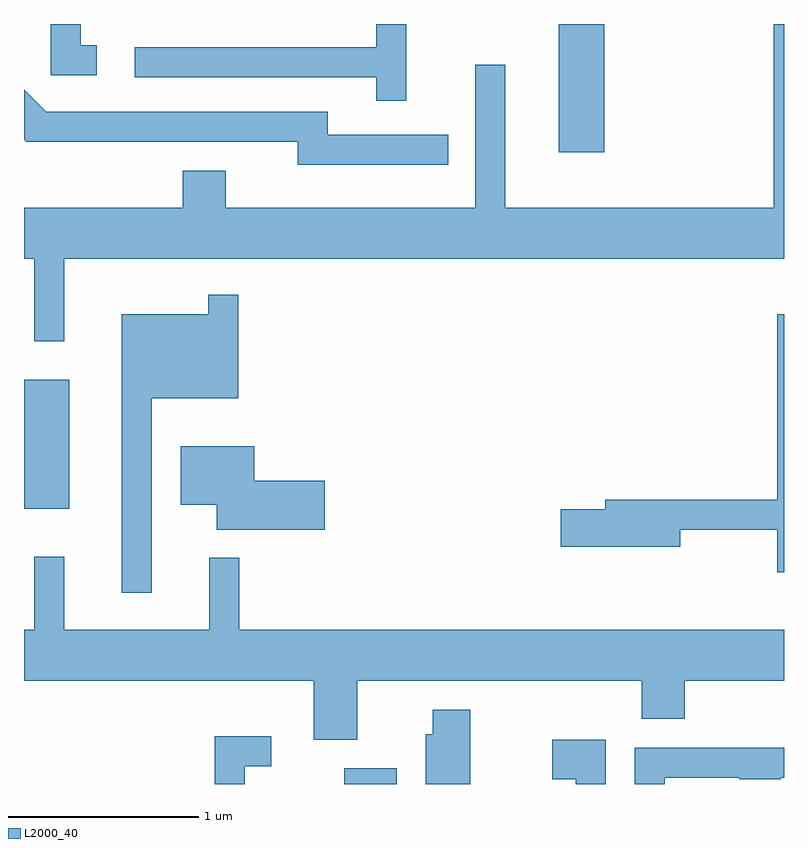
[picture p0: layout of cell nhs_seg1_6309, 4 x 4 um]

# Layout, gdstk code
import gdstk
lib = gdstk.Library(unit=1e-6, precision=1e-09)
def R(c, l, rs):  # rectangles x0, y0, x1, y1
    for r in rs: c.add(gdstk.rectangle(r[:2], r[2:], *l))
def P(c, l, *ps):  # polygons
    for p in ps: c.add(gdstk.Polygon(p, *l))
L2000_40 = (2000, 40)

nhs_seg1_6309 = lib.new_cell('nhs_seg1_6309')
R(nhs_seg1_6309, L2000_40, [(377.296,885.712,377.574,885.794), (375.611,887.161,375.849,887.839), (378.426,889.036,378.664,889.712)])
P(nhs_seg1_6309, L2000_40, [(375.993,889.599),(375.909,889.599),(375.909,889.712),(375.751,889.712),(375.751,889.441),(375.993,889.441)],
  [(377.624,889.712),(377.466,889.712),(377.466,889.589),(376.193,889.589),(376.193,889.431),(377.466,889.431),(377.466,889.308),(377.624,889.308)],
  [(375.824,888.476),(379.611,888.476),(379.611,889.712),(379.556,889.712),(379.556,888.744),(378.144,888.744),(378.144,889.498),(377.986,889.498),(377.986,888.744),(376.674,888.744),(376.674,888.939),(376.446,888.939),(376.446,888.744),(375.611,888.744),(375.611,888.476),(375.666,888.476),(375.666,888.043),(375.824,888.043)],
  [(377.843,889.129),(377.209,889.129),(377.209,889.249),(375.727,889.249),(375.611,889.365),(375.611,889.104),(375.624,889.091),(377.051,889.091),(377.051,888.971),(377.843,888.971)],
  [(376.284,887.741),(376.739,887.741),(376.739,888.288),(376.581,888.288),(376.581,888.184),(376.126,888.184),(376.126,886.718),(376.284,886.718)],
  [(379.611,888.184),(379.576,888.184),(379.576,887.209),(378.671,887.209),(378.671,887.159),(378.436,887.159),(378.436,886.961),(379.064,886.961),(379.064,887.051),(379.576,887.051),(379.576,886.826),(379.611,886.826)],
  [(377.194,887.309),(376.824,887.309),(376.824,887.489),(376.436,887.489),(376.436,887.181),(376.626,887.181),(376.626,887.051),(377.194,887.051)],
  [(377.364,886.256),(378.861,886.256),(378.861,886.056),(379.089,886.056),(379.089,886.256),(379.611,886.256),(379.611,886.524),(376.744,886.524),(376.744,886.903),(376.586,886.903),(376.586,886.524),(375.824,886.524),(375.824,886.908),(375.666,886.908),(375.666,886.524),(375.611,886.524),(375.611,886.256),(377.136,886.256),(377.136,885.946),(377.364,885.946)],
  [(377.959,886.104),(377.761,886.104),(377.761,885.974),(377.726,885.974),(377.726,885.712),(377.959,885.712)],
  [(376.774,885.806),(376.913,885.806),(376.913,885.964),(376.616,885.964),(376.616,885.712),(376.774,885.712)],
  [(378.674,885.944),(378.391,885.944),(378.391,885.736),(378.516,885.736),(378.516,885.712),(378.674,885.712)],
  [(378.984,885.746),(379.375,885.746),(379.375,885.736),(379.595,885.736),(379.595,885.746),(379.611,885.746),(379.611,885.904),(378.826,885.904),(378.826,885.712),(378.984,885.712)])

lib.write_gds('nhs_seg1_6309.gds')
